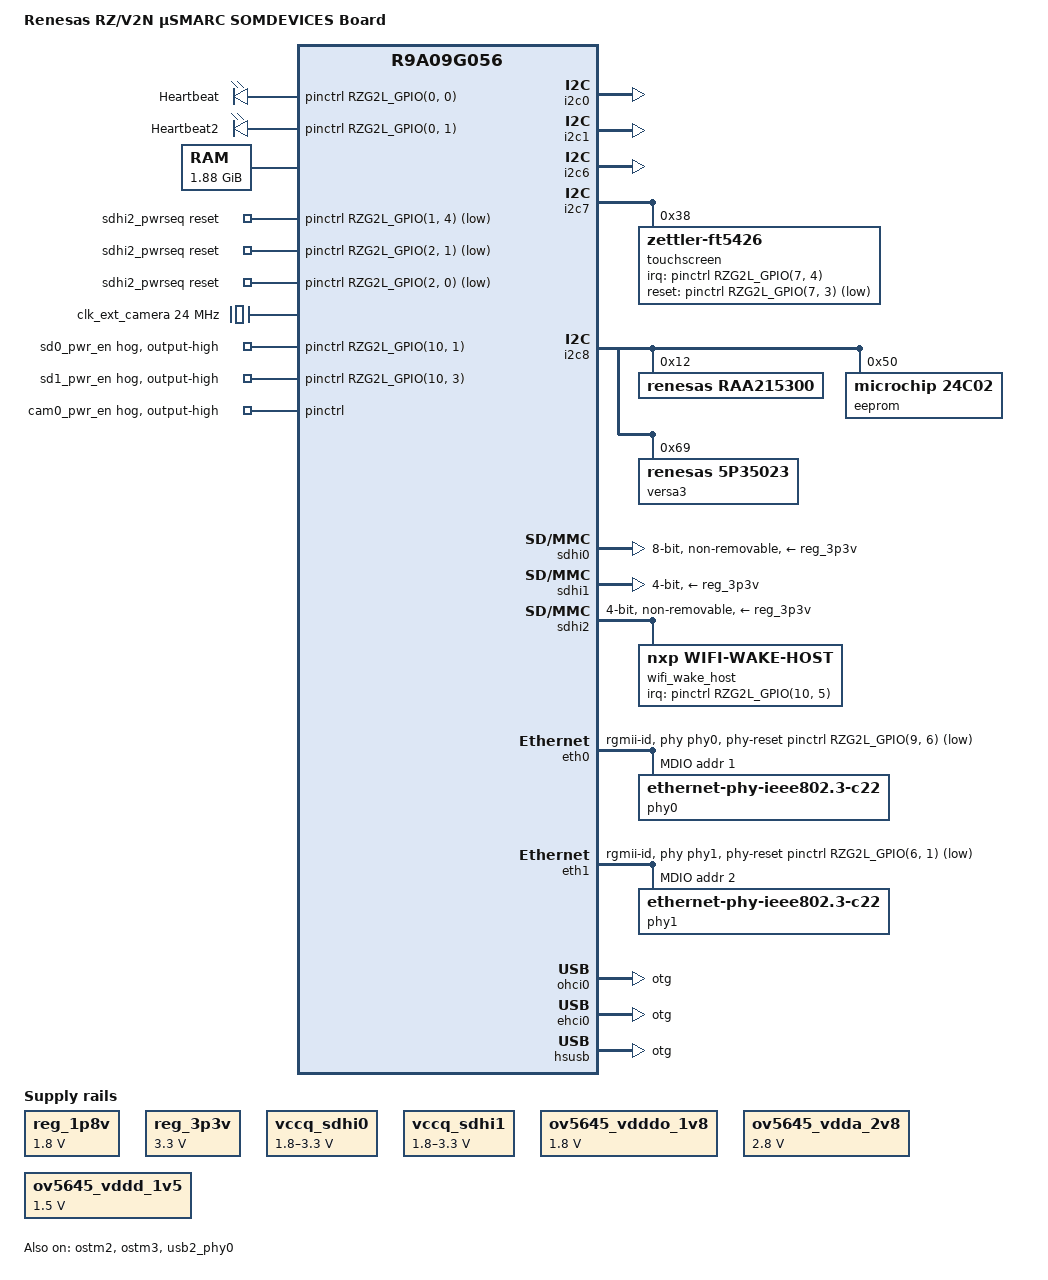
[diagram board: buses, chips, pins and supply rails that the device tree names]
// SPDX-License-Identifier: (GPL-2.0-only OR BSD-2-Clause)
/*
 * Device Tree Source for the RZ/V2N EVK board
 *
 * Copyright (C) 2024 Renesas Electronics Corp.
 */

/dts-v1/;
#include "r9a09g056.dtsi"
#include <dt-bindings/pinctrl/rzv2n-pinctrl.h>
#include <dt-bindings/gpio/gpio.h>

#define RZV2N_PINS_PER_PORT 8
#define RZG2L_GPIO(port, pos) (((port) * RZV2N_PINS_PER_PORT + (pos)))


/*
 * Please change the value of the below Macro
 * according to the selected sub board (eMMC or SD):
 *
 * Selector (eMMC_SD_SEL): 1: eMMC;	0: SD (default);
 */

#define eMMC_SD_SEL		1

/ {
	model = "Renesas RZ/V2N µSMARC SOMDEVICES Board";
	compatible = "renesas,r9a09g056n44-somdevices", "renesas,r9a09g056n44", "renesas,r9a09g056";
	aliases {
		serial0 = &scif0;
		mmc0 = &sdhi0;
		mmc1 = &sdhi1;
		i2c0 = &i2c0;
		i2c1 = &i2c1;
		i2c6 = &i2c6;
		i2c7 = &i2c7;
		i2c8 = &i2c8;
		spi0 = &xspi;
		ethernet0 = &eth0;
		ethernet1 = &eth1;
	};

	chosen {
		bootargs = "ignore_loglevel";
		stdout-path = "serial0:115200n8";
	};

	leds {
		compatible = "gpio-leds";

		status {
			label = "Heartbeat";
			gpios = <&pinctrl RZG2L_GPIO(0, 0) GPIO_ACTIVE_HIGH>;
			linux,default-trigger = "heartbeat";
		};

		status2 {
			label = "Heartbeat2";
			gpios = <&pinctrl RZG2L_GPIO(0, 1) GPIO_ACTIVE_HIGH>;
			linux,default-trigger = "heartbeat";
		};
	};

	memory@48000000 {
		device_type = "memory";
		/* first 128MB is reserved for secure area. */
		reg = <0x0 0x48000000 0x0 0x78000000>;
	};

	reserved-memory {
		#address-cells = <2>;
		#size-cells = <2>;
		ranges;

		global_cma: linux,cma@58000000 {
			compatible = "shared-dma-pool";
			linux,cma-default;
			reusable;
			reg = <0x0 0x58000000 0x0 0x10000000>; /* 0x58000000 - 0x68000000 (256MB) */
		};

		mmp_reserved: linux,multimedia {
			compatible = "shared-dma-pool";
			reusable;
			reg = <0x00000000 0x68000000 0x0 0x20000000>; /* 0x68000000 - 0x88000000 (512MB) */
		};

		/* Colocado justo después de multimedia */
		shared_drp_reserved: SharedDRP@88000000 {
			reusable;
			reg = <0x0 0x88000000 0x0 0x00001000>; /* 0x88000000 - 0x88001000 (4KB) */
		};

		/* DRP-AI inicia en 0x90000000 sin colisionar con nada */
		drp_reserved: DRP-AI@90000000 {
			reusable;
			reg = <0x0 0x90000000 0x0 0x20000000>; /* 0x90000000 - 0xB0000000 (512MB) */
		};

		image_buf0: image_buf@B0000000 {
			compatible = "shared-dma-pool";
			reusable;
			reg = <0x0 0xB0000000 0x0 0x4000000>; /* 0xB0000000 - 0xB4000000 (64MB) */
			label = "image_buf0";
		};
	};

	mmngr {
		compatible = "renesas,mmngr";
		memory-region = <&mmp_reserved>;
	};

	mmngrbuf {
		compatible = "renesas,mmngrbuf";
	};

	vspm_if {
		compatible = "renesas,vspm_if";
	};

	reg_1p8v: regulator0 {
		compatible = "regulator-fixed";

		regulator-name = "fixed-1.8V";
		regulator-min-microvolt = <1800000>;
		regulator-max-microvolt = <1800000>;
		regulator-boot-on;
		regulator-always-on;
	};

	reg_3p3v: regulator1 {
		compatible = "regulator-fixed";

		regulator-name = "fixed-3.3V";
		regulator-min-microvolt = <3300000>;
		regulator-max-microvolt = <3300000>;
		regulator-boot-on;
		regulator-always-on;
	};

	sdhi2_pwrseq: usdhc1_pwrseq {
		compatible = "mmc-pwrseq-simple";
		reset-gpios = <&pinctrl RZG2L_GPIO(1, 4) GPIO_ACTIVE_LOW>,
			      <&pinctrl RZG2L_GPIO(2, 1) GPIO_ACTIVE_LOW>,
			      <&pinctrl RZG2L_GPIO(2, 0) GPIO_ACTIVE_LOW>;
	};

	vccq_sdhi0: regulator-vccq-sdhi0 {
		compatible = "regulator-gpio";

		regulator-name = "SDHI0 VccQ";
		regulator-min-microvolt = <1800000>;
		regulator-max-microvolt = <3300000>;

		gpios = <&pinctrl RZG2L_GPIO(10, 0) GPIO_ACTIVE_HIGH>;

		gpios-states = <0>;
		states = <3300000 0 1800000 1>;
	};

	vccq_sdhi1: regulator-vccq-sdhi1 {
		compatible = "regulator-gpio";

		regulator-name = "SDHI1 VccQ";
		regulator-min-microvolt = <1800000>;
		regulator-max-microvolt = <3300000>;

		gpios = <&pinctrl RZG2L_GPIO(10, 2) GPIO_ACTIVE_HIGH>;

		gpios-states = <0>;
		states = <3300000 0 1800000 1>;
	};

	clk_ext_camera: clk_ext_camera {
		compatible = "fixed-clock";
		#clock-cells = <0>;
		clock-frequency = <24000000>;
	};

	ov5645_vdddo_1v8: 1p8v {
		compatible = "regulator-fixed";
		regulator-name = "camera_vdddo";
		regulator-min-microvolt = <1800000>;
		regulator-max-microvolt = <1800000>;
		regulator-always-on;
	};

	ov5645_vdda_2v8: 2p8v {
		compatible = "regulator-fixed";
		regulator-name = "camera_vdda";
		regulator-min-microvolt = <2800000>;
		regulator-max-microvolt = <2800000>;
		regulator-always-on;
	};

	ov5645_vddd_1v5: 1p5v {
		compatible = "regulator-fixed";
		regulator-name = "camera_vddd";
		regulator-min-microvolt = <1500000>;
		regulator-max-microvolt = <1500000>;
		regulator-always-on;
	};

	x1_clk: x1-clock {
		compatible = "fixed-clock";
		#clock-cells = <0>;
		clock-frequency = <24000000>;
	};

	/* 32.768kHz crystal */
	x2: x2-clock {
		compatible = "fixed-clock";
		#clock-cells = <0>;
		clock-frequency = <32768>;
	};
};

&pinctrl {

	gpt_pins: gpt {
		pinmux = <RZV2N_PINMUX(10, 7, 11)>; /* GTIOC7B */
	};

	i2c0_pins: i2c0 {
		pinmux = <RZV2N_PINMUX(3, 0, 1)>, /* I2C0_SDA */
			 <RZV2N_PINMUX(3, 1, 1)>; /* I2C0_SCL */
	};

	i2c1_pins: i2c1 {
		pinmux = <RZV2N_PINMUX(3, 2, 1)>, /* I2C1_SDA */
			 <RZV2N_PINMUX(3, 3, 1)>; /* I2C1_SCL */
	};

	i2c6_pins: i2c6 {
		pinmux = <RZV2N_PINMUX(4, 4, 1)>, /* I2C6_SDA */
			 <RZV2N_PINMUX(4, 5, 1)>; /* I2C6_SCL */
	};

	i2c7_pins: i2c7 {
		pinmux = <RZV2N_PINMUX(4, 6, 1)>, /* I2C7_SDA */
			 <RZV2N_PINMUX(4, 7, 1)>; /* I2C7_SCL */
	};

	i2c8_pins: i2c8 {
		pinmux = <RZV2N_PINMUX(0, 6, 1)>, /* I2C8_SDA */
			 <RZV2N_PINMUX(0, 7, 1)>; /* I2C8_SCL */
	};

	scif_pins: scif {
		pins =  "SCIF_RXD", "SCIF_TXD";
	};

	sci0_pins: sci0 {
		pinmux = <RZV2N_PINMUX(5, 0, 1)>, /* UART0_TXD */
			 <RZV2N_PINMUX(5, 1, 1)>, /* UART0_RXD */
			 <RZV2N_PINMUX(5, 2, 4)>, /* UART0_CTS */
			 <RZV2N_PINMUX(5, 3, 2)>; /* UART0_RTS */
	};

	sci2_pins: sci2 {
		pinmux = <RZV2N_PINMUX(5, 4, 1)>, /* UART2_BT_TXD */
			 <RZV2N_PINMUX(5, 5, 1)>, /* UART2_BT_RXD */
			 <RZV2N_PINMUX(5, 6, 4)>, /* UART2_BT_CTS */
			 <RZV2N_PINMUX(5, 7, 2)>; /* UART2_BT_RTS */
	};

	sci3_pins: sci3 {
		pinmux = <RZV2N_PINMUX(3, 4, 2)>, /* UART3_TXD */
			 <RZV2N_PINMUX(3, 5, 2)>, /* UART3_RXD */
			 <RZV2N_PINMUX(3, 6, 4)>, /* UART3_CTS */
			 <RZV2N_PINMUX(3, 7, 2)>; /* UART3_RTS */
	};

	sci4_pins: sci4 {
		pinmux = <RZV2N_PINMUX(8, 4, 6)>, /* UART4_TXD */
			 <RZV2N_PINMUX(8, 5, 6)>; /* UART4_RXD */
	};

	sd0_pwr_en {
		gpio-hog;
		gpios = <RZG2L_GPIO(10, 1) GPIO_ACTIVE_HIGH>;
		output-high;
		line-name = "sd0_pwr_en";
	};

	sd1_pwr_en {
		gpio-hog;
		gpios = <RZG2L_GPIO(10, 3) GPIO_ACTIVE_HIGH>;
		output-high;
		line-name = "sd1_pwr_en";
	};

	/* Support pinctrl for SD function of SDHI1 */
	sdhi1_pins: sd1 {
		sd1_mux {
			pinmux = <RZV2N_PINMUX(9, 4, 14)>, /* SD1_CD */
				 <RZV2N_PINMUX(10, 6, 15)>; /* SD1_WP */
		};
	};

	sdhi2_pins: sd2 {
		sd2_mux {
			pinmux = <RZV2N_PINMUX(11, 0, 1)>, /* SD2_CLK */
				 <RZV2N_PINMUX(11, 1, 1)>, /* SD2_DAT0 */
				 <RZV2N_PINMUX(11, 2, 1)>, /* SD2_DAT1 */
				 <RZV2N_PINMUX(11, 3, 1)>, /* SD2_DAT2 */
				 <RZV2N_PINMUX(11, 4, 1)>, /* SD2_DAT3 */
				 <RZV2N_PINMUX(11, 5, 1)>; /* SD2_CMD */
		};
	};

	usb30_pins: usb30 {
		pinmux = <RZV2N_PINMUX(6, 0, 14)>; /* VBUS */
	};

	usb20_pins: usb20 {
		pinmux = <RZV2N_PINMUX(9, 5, 14)>; /* VBUS */
	};

	spi0_pins: spi0 {
		pinmux = <RZV2N_PINMUX(9, 1, 1)>, /* MISO */
			 <RZV2N_PINMUX(9, 0, 1)>, /* MOSI */
			 <RZV2N_PINMUX(9, 3, 1)>, /* SSL0 */
			 <RZV2N_PINMUX(9, 2, 1)>, /* RSPCK */
			 <RZV2N_PINMUX(0, 5, 2)>; /* SSL1 */
	};

	/* cam0_pwr_en is used by Google Coral Camera from CSI20 and CSI21 */
	cam0_pwr_en {
		gpio-hog;
		//gpios = <RZG2L_GPIO(11, 2) GPIO_ACTIVE_HIGH>;
		output-high;
		line-name = "cam0_pwr_en";
	};
};

&i2c0 {
	pinctrl-0 = <&i2c0_pins>;
	pinctrl-names = "default";

	status = "okay";
};

&i2c1 {
	pinctrl-0 = <&i2c1_pins>;
	pinctrl-names = "default";

	status = "okay";
};

&i2c6 {
	pinctrl-0 = <&i2c6_pins>;
	pinctrl-names = "default";

	status = "okay";
};

&i2c7 {
	pinctrl-0 = <&i2c7_pins>;
	pinctrl-names = "default";

	status = "okay";
	//GPIO9  -> RST
	//GPIO10 -> INT
	touchscreen: touch@38 {
		compatible = "zettler-ft5426";
		reg = <0x38>;
		//interrupt-parent = <&gpio3>;
		//interrupts = <19 IRQ_TYPE_EDGE_RISING>;
		//irq-gpios = <&gpio3 19 IRQ_TYPE_EDGE_RISING>;
		//reset-gpios = <&gpio4 30 GPIO_ACTIVE_LOW>;
		interrupt-parent = <&pinctrl>;
		interrupts = <RZG2L_GPIO(7, 4) IRQ_TYPE_EDGE_RISING>;
		irq-gpios = <&pinctrl RZG2L_GPIO(7, 4) IRQ_TYPE_EDGE_RISING>;
		reset-gpios = <&pinctrl RZG2L_GPIO(7, 3) GPIO_ACTIVE_LOW>;
	};
};

&i2c8 {
	pinctrl-0 = <&i2c8_pins>;
	pinctrl-names = "default";

	status = "okay";

	raa215300: pmic@12 {
		compatible = "renesas,raa215300";
		reg = <0x12>, <0x6f>;
		reg-names = "main", "rtc";

		clocks = <&x2>;
		clock-names = "xin";

		rtc {
			compatible = "isil,isl1208";
			isil,fout-frequency = <32768>;
		};
	};

	eeprom@50 {
		compatible = "microchip,24c02";
		reg = <0x50>;
	};

	versa3: versa3@69 {
		compatible = "renesas,5p35023";
		reg = <0x69>;
		#clock-cells = <1>;
		clocks = <&x1_clk>;
		clock-names = "x1";
		otp-burned;
		32kHz-free-running;
		assigned-clocks = <&versa3 0>,
				  <&versa3 1>,
				  <&versa3 2>,
				  <&versa3 3>,
				  <&versa3 4>,
				  <&versa3 5>;
		assigned-clock-rates =  <100000000>, <100000000>,
					<22579200>, <32768>,
					<24578000>, <24000000>;
		clock-divider-read-only = <1>, <1>, <1>, <1>, <1>;
		clock-flags = <2176>, <2176>, <2176>, <2052>, <2176>, <2048>;
	};
};

&ostm2 {
	status = "okay";
};

&ostm3 {
	status = "okay";
};

&sdhi0 {
	vmmc-supply = <&reg_3p3v>;
	vqmmc-supply = <&reg_1p8v>;
	vqmmc-supply = <&vccq_sdhi0>;
	bus-width = <8>;
	mmc-hs200-1_8v;
	non-removable;
	fixed-emmc-driver-type = <1>;
	status = "okay";
};

&sdhi1 {
	pinctrl-0 = <&sdhi1_pins>;
	pinctrl-names = "default";

	vmmc-supply = <&reg_3p3v>;
	vqmmc-supply = <&vccq_sdhi1>;
	bus-width = <4>;
	sd-uhs-sdr50;
	sd-uhs-sdr104;
	status = "okay";
};

&sdhi2 {
	pinctrl-0 = <&sdhi2_pins>;
	pinctrl-names = "default";

	vmmc-supply = <&reg_3p3v>;
	vqmmc-supply = <&reg_1p8v>;
	bus-width = <4>;
	cap-power-off-card;
	pm-ignore-notify;
	keep-power-in-suspend;
	non-removable;
	mmc-pwrseq = <&sdhi2_pwrseq>;
	status = "okay";

	wifi_wake_host {
		compatible = "nxp,wifi-wake-host";
		interrupt-parent = <&pinctrl>;
		interrupts = <RZG2L_GPIO(10, 5) IRQ_TYPE_LEVEL_LOW>;
		interrupt-names = "host-wake";
	};
};

&xspi {
	status = "disabled";

	flash@0 {
		compatible = "micron,mt25qu512a", "jedec,spi-nor";
		reg = <0>;
		m25p,fast-read;
		spi-max-frequency = <50000000>;
		spi-tx-bus-width = <1>;
		spi-rx-bus-width = <1>;

		partitions {
			compatible = "fixed-partitions";
			#address-cells = <1>;
			#size-cells = <1>;

			partition@0 {
				label = "bl2";
				reg = <0x00000000 0x0001D200>;
				read-only;
			};

			partition@1D200 {
				label = "fip";
				reg = <0x0001D200 0x001C2E00>;
				read-only;
			};

			partition@1E0000 {
				label = "env";
				reg = <0x001E0000 0x00020000>;
				read-only;
			};

			partition@200000 {
				label = "test-area";
				reg = <0x00200000 0x00E00000>;
			};
		};
	};
};

&eth0 {
	phy-handle = <&phy0>;
	phy-mode = "rgmii-id";
	status = "okay";
	phy-reset-gpios = <&pinctrl RZG2L_GPIO(9, 6) GPIO_ACTIVE_LOW>;  /* PHY0_RESETN */
	phy-reset-post-delay = <150>;
	phy-reset-duration = <10>;

	mdio {
		#address-cells = <1>;
		#size-cells = <0>;
		phy0: ethernet-phy@1 {
			compatible = "ethernet-phy-ieee802.3-c22";
			reg = <1>;
			rxc-skew-psec = <1400>;
			txc-skew-psec = <1400>;
			rxdv-skew-psec = <0>;
			txdv-skew-psec = <0>;
			rxd0-skew-psec = <0>;
			rxd1-skew-psec = <0>;
			rxd2-skew-psec = <0>;
			rxd3-skew-psec = <0>;
			txd0-skew-psec = <0>;
			txd1-skew-psec = <0>;
			txd2-skew-psec = <0>;
			txd3-skew-psec = <0>;
		};
	};
};

&eth1 {
	phy-handle = <&phy1>;
	phy-mode = "rgmii-id";
	status = "okay";
	phy-reset-gpios = <&pinctrl RZG2L_GPIO(6, 1) GPIO_ACTIVE_LOW>;  /* PHY1_RESETN */
	phy-reset-post-delay = <150>;
	phy-reset-duration = <10>;

	mdio {
		#address-cells = <1>;
		#size-cells = <0>;
		phy1: ethernet-phy@2 {
			compatible = "ethernet-phy-ieee802.3-c22";
			reg = <2>;
			rxc-skew-psec = <1400>;
			txc-skew-psec = <1400>;
			rxdv-skew-psec = <0>;
			txdv-skew-psec = <0>;
			rxd0-skew-psec = <0>;
			rxd1-skew-psec = <0>;
			rxd2-skew-psec = <0>;
			rxd3-skew-psec = <0>;
			txd0-skew-psec = <0>;
			txd1-skew-psec = <0>;
			txd2-skew-psec = <0>;
			txd3-skew-psec = <0>;
		};
	};
};

&ohci0 {
	memory-region = <&global_cma>;

	dr_mode = "otg";
	status = "okay";
};

&ehci0 {
	memory-region = <&global_cma>;

	dr_mode = "otg";
	status = "okay";
};

&hsusb {
	dr_mode = "otg";
	status = "okay";
};

&usb2_phy0 {
	pinctrl-0 = <&usb20_pins>;
	pinctrl-names = "default";

	status = "okay";
};
